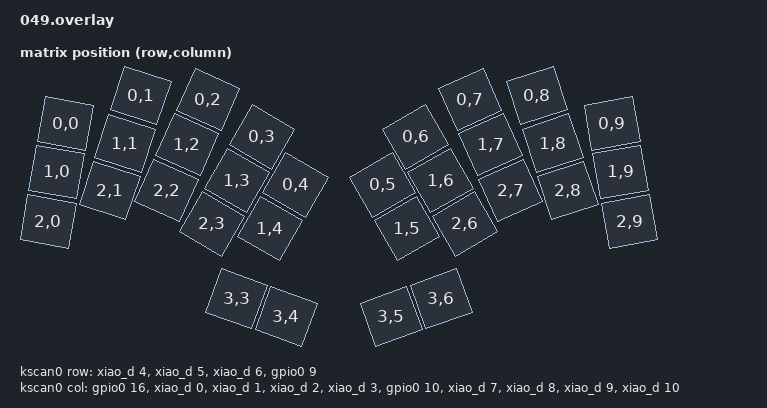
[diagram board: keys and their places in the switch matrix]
#include <dt-bindings/zmk/matrix_transform.h>
#include <physical_layouts.dtsi>

/ {
   chosen {
      // zmk,kscan = &kscan0;
      zmk,physical-layout = &default_layout;
   };

   default_layout: default_layout {
      compatible = "zmk,physical-layout";
      display-name = "Default 32-key Layout";

      transform = <&default_transform>;
      kscan = <&kscan0>;

      keys  //                     w   h    x    y     rot    rx    ry
            = <&key_physical_attrs 106 100   35   56    1000    88   106>
            , <&key_physical_attrs 106 100  185    0    1800   238    50>
            , <&key_physical_attrs 106 100  320    8    2400   373    58>
            , <&key_physical_attrs 106 100  428   83    3000   481   133>
            , <&key_physical_attrs 106 100  495  179    3000   548   229>
            , <&key_physical_attrs 106 100  669  179 (-3000)   722   229>
            , <&key_physical_attrs 106 100  735   83 (-3000)   788   133>
            , <&key_physical_attrs 106 100  844    8 (-2400)   897    58>
            , <&key_physical_attrs 106 100  978    0 (-1800)  1031    50>
            , <&key_physical_attrs 106 100 1128   56 (-1000)  1181   106>
            , <&key_physical_attrs 106 100   17  153    1000    70   203>
            , <&key_physical_attrs 106 100  154   96    1800   207   146>
            , <&key_physical_attrs 106 100  278   99    2400   331   149>
            , <&key_physical_attrs 106 100  378  170    3000   431   220>
            , <&key_physical_attrs 106 100  444  266    3000   497   316>
            , <&key_physical_attrs 106 100  718  266 (-3000)   771   316>
            , <&key_physical_attrs 106 100  785  170 (-3000)   838   220>
            , <&key_physical_attrs 106 100  885   99 (-2400)   938   149>
            , <&key_physical_attrs 106 100 1009   96 (-1800)  1062   146>
            , <&key_physical_attrs 106 100 1145  153 (-1000)  1198   203>
            , <&key_physical_attrs 106 100    0  252    1000    53   302>
            , <&key_physical_attrs 106 100  123  190    1800   176   240>
            , <&key_physical_attrs 106 100  237  191    2400   290   241>
            , <&key_physical_attrs 106 100  328  257    3000   381   307>
            , <&key_physical_attrs 106 100  834  257 (-3000)   887   307>
            , <&key_physical_attrs 106 100  925  191 (-2400)   978   241>
            , <&key_physical_attrs 106 100 1039  190 (-1800)  1092   240>
            , <&key_physical_attrs 106 100 1163  252 (-1000)  1216   302>
            , <&key_physical_attrs 106 100  377  407    2000   430   457>
            , <&key_physical_attrs 106 100  476  442    2000   529   492>
            , <&key_physical_attrs 106 100  686  442 (-2000)   739   492>
            , <&key_physical_attrs 106 100  786  407 (-2000)   839   457>
            ;
   };

   kscan0: kscan0 {
      compatible = "zmk,kscan-gpio-matrix";
      diode-direction = "row2col";
      wakeup-source;

      col-gpios
         = <&gpio0 16 (GPIO_ACTIVE_HIGH | GPIO_PULL_DOWN)>
         , <&xiao_d 0 (GPIO_ACTIVE_HIGH | GPIO_PULL_DOWN)>
         , <&xiao_d 1 (GPIO_ACTIVE_HIGH | GPIO_PULL_DOWN)>
         , <&xiao_d 2 (GPIO_ACTIVE_HIGH | GPIO_PULL_DOWN)>
         , <&xiao_d 3 (GPIO_ACTIVE_HIGH | GPIO_PULL_DOWN)>
         , <&gpio0 10 (GPIO_ACTIVE_HIGH | GPIO_PULL_DOWN)>
         , <&xiao_d 7 (GPIO_ACTIVE_HIGH | GPIO_PULL_DOWN)>
         , <&xiao_d 8 (GPIO_ACTIVE_HIGH | GPIO_PULL_DOWN)>
         , <&xiao_d 9 (GPIO_ACTIVE_HIGH | GPIO_PULL_DOWN)>
         , <&xiao_d 10 (GPIO_ACTIVE_HIGH | GPIO_PULL_DOWN)>
         ;

      row-gpios
         = <&xiao_d 4 GPIO_ACTIVE_HIGH>
         , <&xiao_d 5 GPIO_ACTIVE_HIGH>
         , <&xiao_d 6 GPIO_ACTIVE_HIGH>
         , <&gpio0 9 GPIO_ACTIVE_HIGH>
         ;
   };

   default_transform: keymap_transform_0 {
      compatible = "zmk,matrix-transform";
      columns = <10>;
      rows = <4>;

      map = <
          RC(0,0)         RC(0,1)         RC(0,2)         RC(0,3)         RC(0,4)                                         RC(0,5)         RC(0,6)         RC(0,7)         RC(0,8)         RC(0,9)
          RC(1,0)         RC(1,1)         RC(1,2)         RC(1,3)         RC(1,4)                                         RC(1,5)         RC(1,6)         RC(1,7)         RC(1,8)         RC(1,9)
          RC(2,0)         RC(2,1)         RC(2,2)         RC(2,3)                                                                         RC(2,6)         RC(2,7)         RC(2,8)         RC(2,9)
                                                                          RC(3,3)         RC(3,4)         RC(3,5)         RC(3,6)
      >;
  };
};

&xiao_serial {
   status = "disabled";
};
